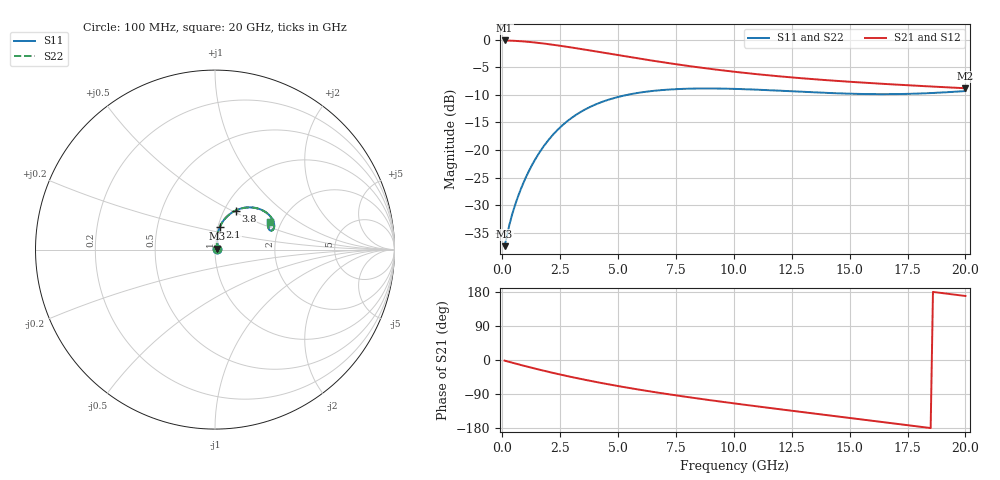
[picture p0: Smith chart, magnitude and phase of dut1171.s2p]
! Touchstone file exported from HFSS 2024.1.0
!  File:  C:/UserFiles/LocalFiles/RDL_TSV_Batchsim/temp_RDL_TSV_1171_1780123388.aedt
!  Generated:  02:57:17 PM May 30, 2026
!  Design:  RDL_TSV
!  Project:  temp_RDL_TSV_1171_1780123388
!  Setup:  Setup1
!  Solution:  Sweep
! Variables:
!  dtsv = 8.34um
!  hbump = 3um
!  htsv = 54.33um
!  ldown = 390.3um
!  lrdl = 449um
!  p = 40
!  p1 = 59.09um
!  rhole = 10um
!  subl = 2966.9um
!  t = 450um
!  tdown = 4.52um
!  trdl = 3.92um
!  viad = 10um
!  wdown = 25.16um
!  wrdl = 19.99um
!  xbump = 18um
# GHz S MA R 50.000000
! Terminal data exported
! Port[1] = TM1_1_T1
! Port[2] = TM1_4_T1
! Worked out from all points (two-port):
!   200 points, 100 MHz to 20 GHz, reference 50 ohm
!   highest |S21| = -0.12 dB at 100 MHz (marker M1); lowest = -8.8 dB at 20 GHz (marker M2)
!   |S21| within 3 dB of the highest: start of sweep to 5.495 GHz
!   lowest |S11| = -37.4 dB at 100 MHz (marker M3), VSWR 1.03, Z = 51.2 + j0.578 ohm
!   |S11| at or under -10 dB: start of sweep to 5.384 GHz
!   |S22| runs from -37.5 to -8.8 dB; largest |S21 - S12| = 1.6e-14
!   S11 on the Smith chart (normalised r, x): 100 MHz: 1.02, +0.01; 2.1 GHz: 1.02, +0.27; 3.8 GHz: 1.13, +0.52; 20 GHz: 1.75, +0.61
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0.1  0.01342 24.9  0.9864 -1.7  0.9864 -1.7  0.0134 24.8
! Gamma 0 0 0 0
! Port Impedance 50 0 50 0
0.3  0.02067 51.3  0.9834 -5.0  0.9834 -5.0  0.02062 51.2
0.5  0.0293 63.3  0.9793 -8.3  0.9793 -8.3  0.02921 63.4
0.7  0.03891 70.6  0.974 -11.5  0.974 -11.5  0.03879 70.7
0.9  0.04962 75.2  0.9673 -14.7  0.9673 -14.7  0.04948 75.3
1.2  0.06766 78.8  0.9551 -19.4  0.9551 -19.4  0.06752 78.9
1.5  0.08767 79.9  0.9406 -24.0  0.9406 -24.0  0.08754 80.0
2.1  0.1311 77.8  0.9071 -32.8  0.9071 -32.8  0.131 77.9
2.8  0.1822 72.0  0.8638 -42.4  0.8638 -42.4  0.1822 72.0
3.5  0.2287 65.1  0.819 -51.4  0.819 -51.4  0.2287 65.1
3.8  0.2464 62.1  0.7999 -55.0  0.7999 -55.0  0.2464 62.1
4.4  0.2776 56.3  0.7624 -62.1  0.7624 -62.1  0.2776 56.4
5.1  0.3066 50.1  0.7207 -69.8  0.7207 -69.8  0.3066 50.1
5.9  0.3309 43.7  0.6764 -78.1  0.6764 -78.1  0.3308 43.7
6.8  0.3486 37.6  0.6317 -86.9  0.6317 -86.9  0.3484 37.6
8.4  0.3613 29.1  0.5651 -101.2  0.5651 -101.2  0.3611 29.1
10.1  0.3583 23.0  0.5108 -115.2  0.5108 -115.2  0.3579 23.0
11.7  0.3476 19.7  0.4718 -127.8  0.4718 -127.8  0.3471 19.7
13.4  0.3341 18.5  0.4398 -140.8  0.4398 -140.8  0.3336 18.6
15  0.3243 19.4  0.4162 -152.9  0.4162 -152.9  0.3238 19.4
16.7  0.3212 21.7  0.3956 -165.8  0.3956 -165.8  0.3207 21.8
20  0.3427 26.6  0.3634 168.9  0.3634 168.9  0.3424 26.8
